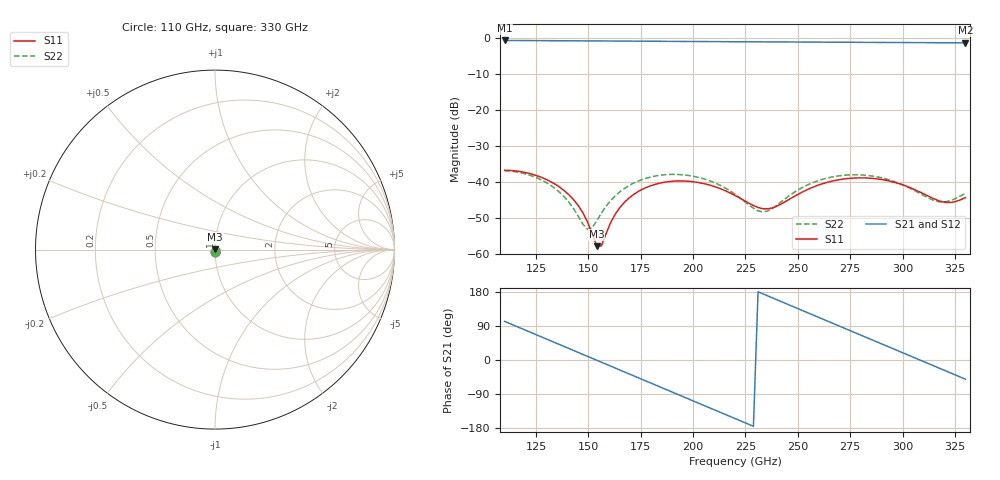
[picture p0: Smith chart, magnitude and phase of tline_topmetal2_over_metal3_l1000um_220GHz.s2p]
#  GHZ S DB R 50
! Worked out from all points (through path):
!   101 points, 110 GHz to 330 GHz, reference 50 ohm
!   highest |S21| = -0.71 dB at 110 GHz (marker M1); lowest = -1.4 dB at 330 GHz (marker M2)
!   group delay of S21, straight-line fit = 6.47 ps
!   lowest |S11| = -57.8 dB at 154 GHz (marker M3), VSWR 1.00, Z = 50 + j0.129 ohm
!   |S11| at or under -10 dB: start of sweep to end of sweep
!   |S22| runs from -53.1 to -36.8 dB; largest |S21 - S12| = 1e-13
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110  -36.73 -85.5  -0.71 101.9  -0.71 101.9  -36.84 -85.7
121  -37.49 -115.5  -0.74 76.3  -0.74 76.3  -37.90 -116.7
132  -39.88 -146.4  -0.78 50.7  -0.78 50.7  -40.90 -150.1
140.8  -43.57 -173.7  -0.80 30.1  -0.80 30.1  -45.67 175.6
147.4  -48.54 159.9  -0.82 14.7  -0.82 14.7  -51.69 125.5
149.6  -51.08 147.1  -0.83 9.6  -0.83 9.6  -53.15 94.3
154  -57.78 92.4  -0.84 -0.7  -0.84 -0.7  -50.74 32.9
156.2  -57.71 40.7  -0.85 -5.8  -0.85 -5.8  -48.61 14.2
160.6  -51.28 -12.6  -0.86 -16.1  -0.86 -16.1  -45.14 -10.9
167.2  -45.61 -44.5  -0.88 -31.5  -0.88 -31.5  -41.76 -37.3
184.8  -40.20 -103.5  -0.94 -72.5  -0.94 -72.5  -38.06 -94.3
193.6  -39.68 -131.7  -0.97 -93.0  -0.97 -93.0  -37.91 -121.6
202.4  -40.11 -160.8  -1.00 -113.5  -1.00 -113.5  -38.68 -149.6
220  -43.71 131.4  -1.06 -154.4  -1.06 -154.4  -43.36 144.6
233.2  -47.38 50.8  -1.09 174.8  -1.09 174.8  -48.27 53.3
244.2  -45.36 -26.9  -1.12 149.2  -1.12 149.2  -44.50 -28.8
257.4  -41.37 -88.6  -1.16 118.5  -1.16 118.5  -40.09 -84.8
275  -38.95 -151.9  -1.21 77.4  -1.21 77.4  -37.99 -144.5
294.8  -39.86 138.8  -1.27 31.4  -1.27 31.4  -39.58 147.2
312.4  -43.94 60.5  -1.32 -9.6  -1.32 -9.6  -44.43 63.2
321.2  -45.66 2.3  -1.34 -30.1  -1.34 -30.1  -45.41 -0.9
330  -44.30 -58.2  -1.36 -50.6  -1.36 -50.6  -43.10 -58.0
